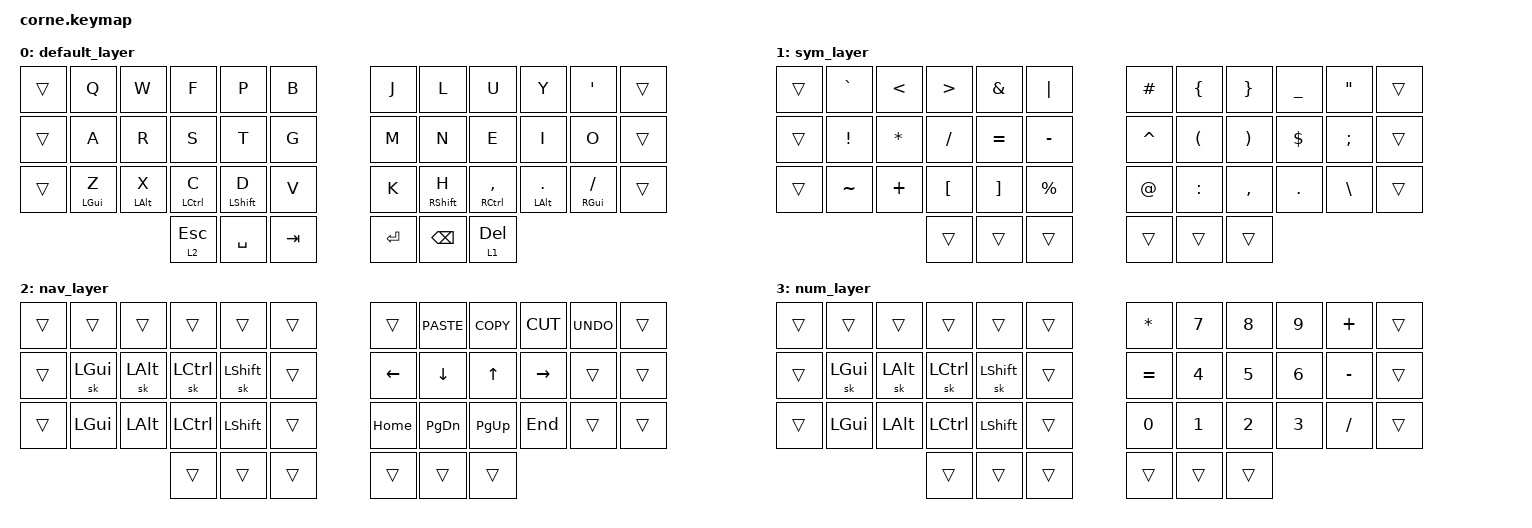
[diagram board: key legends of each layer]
/*
 * Copyright (c) 2020 The ZMK Contributors
 *
 * SPDX-License-Identifier: MIT
 */

#include <behaviors.dtsi>
#include <dt-bindings/zmk/keys.h>

/ {
    behaviors {
        hrm_l: hrm_l {
            compatible = "zmk,behavior-hold-tap";
            label = "HRM_L";
            bindings = <&kp>, <&kp>;

            #binding-cells = <2>;
            tapping-term-ms = <280>;
            quick-tap-ms = <175>;
            require-prior-idle-ms = <125>;
            flavor = "balanced";
            hold-trigger-on-release;
            hold-trigger-key-positions = <36 37 38 6 7 8 9 10 11 18 19 20 21 22 23 30 31 32 33 34 35 39 40 41>;
        };

        hrm_r: hrm_r {
            compatible = "zmk,behavior-hold-tap";
            label = "HRM_R";
            bindings = <&kp>, <&kp>;

            #binding-cells = <2>;
            tapping-term-ms = <280>;
            quick-tap-ms = <175>;
            require-prior-idle-ms = <125>;
            flavor = "balanced";
            hold-trigger-on-release;
            hold-trigger-key-positions = <41 40 39 14 16 17 26 27 28 29 36 37 38 0 1 2 3 4 5 12 13 14 15 16 17 24 25 26 27 28 29 36 37 38>;
        };
    };

    keymap {
        compatible = "zmk,keymap";

        default_layer {
            // -----------------------------------------------------------------------------------------
            // |  TAB |  Q  |  W  |  E  |  R  |  T  |   |  Y  |  U   |  I  |  O  |  P  | BSPC |
            // | CTRL |  A  |  S  |  D  |  F  |  G  |   |  H  |  J   |  K  |  L  |  ;  |  '   |
            // | SHFT |  Z  |  X  |  C  |  V  |  B  |   |  N  |  M   |  ,  |  .  |  /  | ESC  |
            //                    | GUI | LWR | SPC |   | ENT | RSE  | ALT |

            bindings = <
&trans  &kp Q          &kp W              &kp F                  &kp P                &kp B      &kp J      &kp L                 &kp U                       &kp Y                   &kp SQT                 &trans
&trans  &kp A          &kp R              &kp S                  &kp T                &kp G      &kp M      &kp N                 &kp E                       &kp I                   &kp O                   &trans
&trans  &hrm_l LGUI Z  &hrm_l LEFT_ALT X  &hrm_l LEFT_CONTROL C  &hrm_l LEFT_SHIFT D  &kp V      &kp K      &hrm_r RIGHT_SHIFT H  &hrm_r RIGHT_CONTROL COMMA  &hrm_r LEFT_ALT PERIOD  &hrm_r RIGHT_GUI SLASH  &trans
                                          &lt 2 ESCAPE           &kp SPACE            &kp TAB    &kp ENTER  &kp BACKSPACE         &lt 1 DELETE
            >;
        };

        sym_layer {
            bindings = <
&trans  &kp GRAVE        &kp LESS_THAN  &kp GREATER_THAN  &kp AMPERSAND      &kp PIPE       &kp HASH     &kp LEFT_BRACE        &kp RIGHT_BRACE        &kp UNDERSCORE  &kp DOUBLE_QUOTES  &trans
&trans  &kp EXCLAMATION  &kp ASTERISK   &kp SLASH         &kp EQUAL          &kp MINUS      &kp CARET    &kp LEFT_PARENTHESIS  &kp RIGHT_PARENTHESIS  &kp DOLLAR      &kp SEMICOLON      &trans
&trans  &kp TILDE        &kp PLUS       &kp LEFT_BRACKET  &kp RIGHT_BRACKET  &kp PERCENT    &kp AT_SIGN  &kp COLON             &kp COMMA              &kp PERIOD      &kp BACKSLASH      &trans
                                        &trans            &trans             &trans         &trans       &trans                &trans
            >;
        };

        nav_layer {
            bindings = <
&trans  &trans    &trans    &trans     &trans     &trans    &trans    &kp K_PASTE  &kp K_COPY  &kp K_CUT  &kp K_UNDO  &trans
&trans  &sk LGUI  &sk LALT  &sk LCTRL  &sk LSHFT  &trans    &kp LEFT  &kp DOWN     &kp UP      &kp RIGHT  &trans      &trans
&trans  &kp LGUI  &kp LALT  &kp LCTRL  &kp LSHFT  &trans    &kp HOME  &kp PG_DN    &kp PG_UP   &kp END    &trans      &trans
                            &trans     &trans     &trans    &trans    &trans       &trans
            >;
        };

        num_layer {
            bindings = <
&trans  &trans    &trans    &trans     &trans     &trans    &kp STAR   &kp N7  &kp N8  &kp N9  &kp PLUS   &trans
&trans  &sk LGUI  &sk LALT  &sk LCTRL  &sk LSHFT  &trans    &kp EQUAL  &kp N4  &kp N5  &kp N6  &kp MINUS  &trans
&trans  &kp LGUI  &kp LALT  &kp LCTRL  &kp LSHFT  &trans    &kp N0     &kp N1  &kp N2  &kp N3  &kp FSLH   &trans
                            &trans     &trans     &trans    &trans     &trans  &trans
            >;
        };
    };

    conditional_layers {
        compatible = "zmk,conditional-layers";

        activate_num {
            if-layers = <1 2>;
            then-layer = <3>;
        };
    };
};
